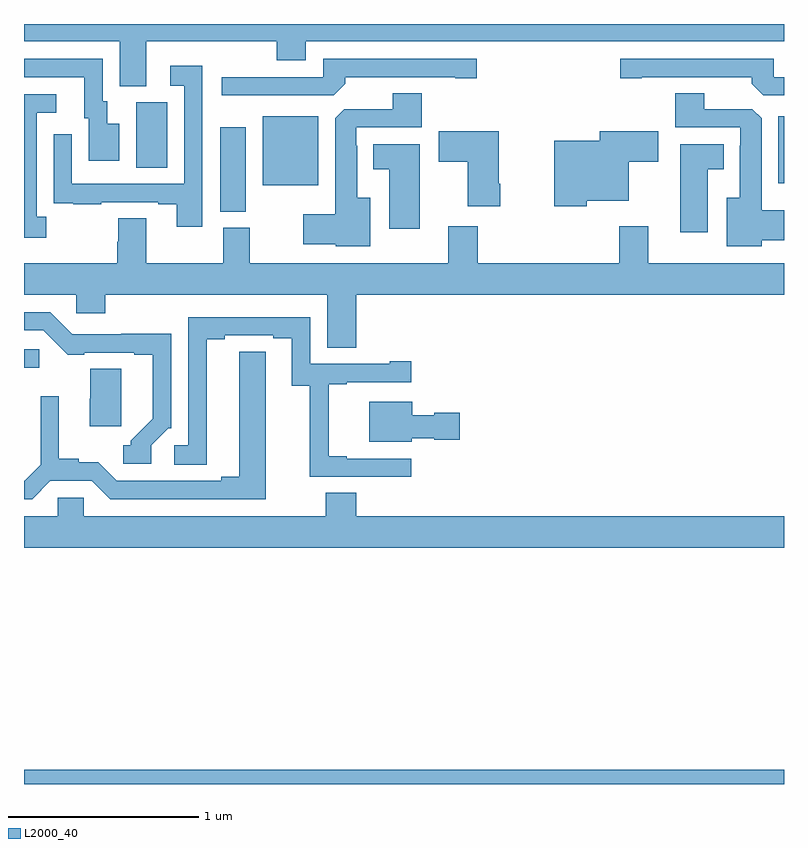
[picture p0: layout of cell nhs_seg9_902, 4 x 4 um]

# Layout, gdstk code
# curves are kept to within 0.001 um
import gdstk
lib = gdstk.Library(unit=1e-6, precision=1e-09)
def R(c, l, rs):  # rectangles x0, y0, x1, y1
    for r in rs: c.add(gdstk.rectangle(r[:2], r[2:], *l))
def P(c, l, *ps):  # polygons
    for p in ps: c.add(gdstk.Polygon(p, *l))
L2000_40 = (2000, 40)

nhs_seg9_902 = lib.new_cell('nhs_seg9_902')
R(nhs_seg9_902, L2000_40, [(159,1204.5,163,1204.576), (159,1206.692,159.079,1206.789), (160.034,1207.513,160.168,1207.957), (160.256,1207.652,160.549,1208.014), (162.971,1207.661,163,1208.014), (159.59,1207.744,159.754,1208.088)])
P(nhs_seg9_902, L2000_40, [(163,1208.5),(159,1208.5),(159,1208.408),(159.503,1208.408),(159.503,1208.173),(159.643,1208.173),(159.643,1208.408),(160.331,1208.408),(160.331,1208.309),(160.483,1208.309),(160.483,1208.408),(163,1208.408)],
  [(160.691,1208.186),(160.691,1208.22),(161.27,1208.22),(161.27,1208.215),(161.383,1208.215),(161.383,1208.316),(160.575,1208.316),(160.575,1208.22),(160.041,1208.22),(160.041,1208.124),(160.629,1208.124)],
  [(159.502,1207.975),(159.439,1207.975),(159.439,1208.094),(159.414,1208.094),(159.414,1208.316),(159,1208.316),(159,1208.22),(159.317,1208.22),(159.317,1208.004),(159.341,1208.004),(159.341,1207.779),(159.502,1207.779)],
  [(163,1208.22),(162.945,1208.22),(162.945,1208.316),(162.138,1208.316),(162.138,1208.215),(162.25,1208.215),(162.25,1208.22),(162.83,1208.22),(162.83,1208.186),(162.891,1208.124),(163,1208.124)],
  [(159.939,1208.281),(159.771,1208.281),(159.771,1208.175),(159.843,1208.175),(159.843,1207.659),(159.252,1207.659),(159.252,1207.921),(159.156,1207.921),(159.156,1207.666),(159.157,1207.666),(159.157,1207.557),(159.259,1207.557),(159.259,1207.551),(159.407,1207.551),(159.407,1207.563),(159.707,1207.563),(159.707,1207.551),(159.803,1207.551),(159.803,1207.434),(159.939,1207.434)],
  [(162.883,1207.361),(163,1207.361),(163,1207.519),(162.883,1207.519),(162.883,1208.003),(162.834,1208.052),(162.58,1208.052),(162.58,1208.135),(162.428,1208.135),(162.428,1207.956),(162.771,1207.956),(162.771,1207.859),(162.767,1207.859),(162.767,1207.585),(162.698,1207.585),(162.698,1207.331),(162.883,1207.331)],
  [(160.822,1207.585),(160.753,1207.585),(160.753,1207.859),(160.749,1207.859),(160.749,1207.956),(161.093,1207.956),(161.093,1208.135),(160.94,1208.135),(160.94,1208.052),(160.686,1208.052),(160.637,1208.003),(160.637,1207.498),(160.47,1207.498),(160.47,1207.34),(160.641,1207.34),(160.641,1207.331),(160.822,1207.331)],
  [(159.118,1207.486),(159.066,1207.486),(159.066,1208.034),(159.169,1208.034),(159.169,1208.13),(159,1208.13),(159,1207.376),(159.118,1207.376)],
  [(161.963,1207.571),(162.184,1207.571),(162.184,1207.774),(162.337,1207.774),(162.337,1207.936),(162.029,1207.936),(162.029,1207.885),(161.792,1207.885),(161.792,1207.541),(161.963,1207.541)],
  [(161.506,1207.659),(161.499,1207.659),(161.499,1207.936),(161.184,1207.936),(161.184,1207.774),(161.336,1207.774),(161.336,1207.541),(161.506,1207.541)],
  [(162.598,1207.736),(162.682,1207.736),(162.682,1207.867),(162.455,1207.867),(162.455,1207.404),(162.598,1207.404)],
  [(161.083,1207.867),(160.838,1207.867),(160.838,1207.736),(160.922,1207.736),(160.922,1207.422),(161.083,1207.422)],
  [(160.748,1207.076),(163,1207.076),(163,1207.24),(162.286,1207.24),(162.286,1207.435),(162.134,1207.435),(162.134,1207.24),(161.387,1207.24),(161.387,1207.435),(161.234,1207.435),(161.234,1207.24),(160.189,1207.24),(160.189,1207.428),(160.049,1207.428),(160.049,1207.24),(159.643,1207.24),(159.643,1207.478),(159.496,1207.478),(159.496,1207.353),(159.491,1207.353),(159.491,1207.24),(159,1207.24),(159,1207.076),(159.276,1207.076),(159.276,1206.978),(159.428,1206.978),(159.428,1207.076),(160.595,1207.076),(160.595,1206.796),(160.748,1206.796)],
  [(159.669,1206.282),(159.759,1206.372),(159.774,1206.372),(159.774,1206.869),(159.511,1206.869),(159.511,1206.867),(159.255,1206.867),(159.138,1206.984),(159,1206.984),(159,1206.888),(159.102,1206.888),(159.23,1206.76),(159.316,1206.76),(159.316,1206.771),(159.581,1206.771),(159.581,1206.759),(159.677,1206.759),(159.677,1206.422),(159.561,1206.306),(159.561,1206.282),(159.522,1206.282),(159.522,1206.186),(159.669,1206.186)],
  [(161.038,1206.213),(160.699,1206.213),(160.699,1206.226),(160.604,1206.226),(160.604,1206.603),(160.699,1206.603),(160.699,1206.615),(161.038,1206.615),(161.038,1206.724),(160.925,1206.724),(160.925,1206.711),(160.506,1206.711),(160.506,1206.957),(159.864,1206.957),(159.864,1206.282),(159.792,1206.282),(159.792,1206.181),(159.961,1206.181),(159.961,1206.841),(160.057,1206.841),(160.057,1206.861),(160.313,1206.861),(160.313,1206.846),(160.409,1206.846),(160.409,1206.595),(160.504,1206.595),(160.504,1206.117),(161.038,1206.117)],
  [(159.139,1206.096),(159.357,1206.096),(159.453,1206),(160.273,1206),(160.272,1206.776),(160.133,1206.776),(160.133,1206.116),(160.037,1206.116),(160.037,1206.096),(159.489,1206.096),(159.392,1206.194),(159.288,1206.194),(159.288,1206.212),(159.184,1206.212),(159.184,1206.541),(159.087,1206.541),(159.087,1206.18),(159.003,1206.096),(159,1206.096),(159,1206),(159.043,1206)],
  [(159.511,1206.686),(159.349,1206.686),(159.349,1206.528),(159.347,1206.528),(159.347,1206.384),(159.511,1206.384)],
  [(161.04,1206.32),(161.16,1206.32),(161.16,1206.313),(161.293,1206.313),(161.293,1206.455),(161.16,1206.455),(161.16,1206.442),(161.044,1206.442),(161.044,1206.511),(160.817,1206.511),(160.817,1206.302),(161.04,1206.302)],
  [(163,1205.908),(160.748,1205.908),(160.748,1206.032),(160.588,1206.032),(160.588,1205.908),(159.315,1205.908),(159.315,1206.006),(159.177,1206.006),(159.177,1205.908),(159,1205.908),(159,1205.744),(163,1205.744)])

lib.write_gds('nhs_seg9_902.gds')
